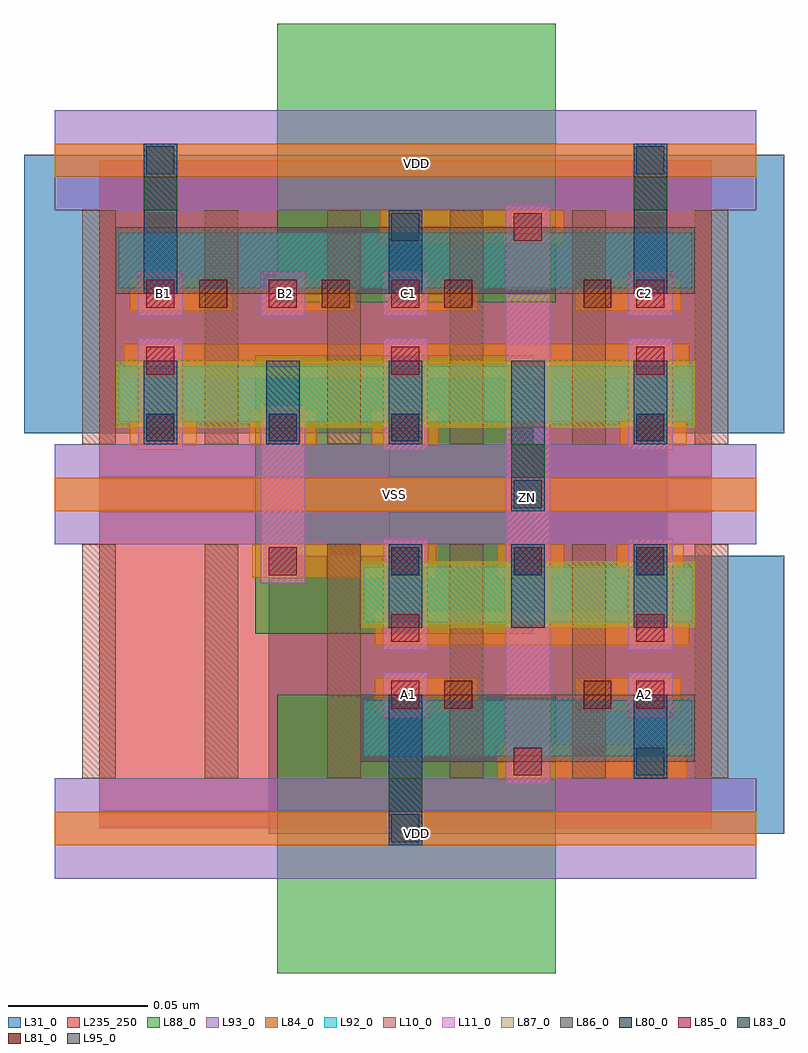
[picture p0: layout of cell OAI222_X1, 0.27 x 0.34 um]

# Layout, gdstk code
import gdstk
lib = gdstk.Library(unit=1e-6, precision=1e-09)
def R(c, l, rs):  # rectangles x0, y0, x1, y1
    for r in rs: c.add(gdstk.rectangle(r[:2], r[2:], *l))
def A(c, l, x, y, w, h, nx, ny, dx, dy):  # array of equal rectangles
    R(c, l, [(x+i*dx, y+j*dy, x+i*dx+w, y+j*dy+h) for i in range(nx) for j in range(ny)])
L10_0 = (10, 0)
L11_0 = (11, 0)
L31_0 = (31, 0)
L80_0 = (80, 0)
L81_0 = (81, 0)
L83_0 = (83, 0)
L84_0 = (84, 0)
L85_0 = (85, 0)
L86_0 = (86, 0)
L87_0 = (87, 0)
L88_0 = (88, 0)
L92_0 = (92, 0)
L93_0 = (93, 0)
L95_0 = (95, 0)
L235_250 = (235, 250)

oai222_x1 = lib.new_cell('OAI222_X1')
A(oai222_x1, L10_0, -0.006, 0.018, 0.012, 0.084, 6, 2, 0.044, 0.12)
A(oai222_x1, L11_0, 0.014, 0.136, 0.016, 0.04, 3, 1, 0.088, 0)
A(oai222_x1, L11_0, 0.014, 0.184, 0.016, 0.016, 3, 1, 0.044, 0)
R(oai222_x1, L11_0, [(0.146,0.016,0.162,0.224), (0.102,0.04,0.118,0.056), (0.19,0.04,0.206,0.056), (0.102,0.064,0.118,0.104), (0.19,0.064,0.206,0.104), (0.058,0.088,0.074,0.152), (0.19,0.184,0.206,0.2)])
A(oai222_x1, L31_0, -0.027, 0.142, 0.1, 0.1, 3, 1, 0.044, 0)
R(oai222_x1, L31_0, [(0.061,-0.002,0.161,0.098), (0.146,-0.002,0.246,0.098), (0.104,0.069,0.204,0.169), (0.146,0.142,0.246,0.242)])
A(oai222_x1, L80_0, 0.104, 0.072, 0.012, 0.03, 3, 1, 0.044, 0)
A(oai222_x1, L80_0, 0.016, 0.138, 0.012, 0.03, 3, 1, 0.044, 0)
R(oai222_x1, L80_0, [(0.104,-0.006,0.116,0.048), (0.192,0.018,0.204,0.048), (0.148,0.114,0.16,0.168), (0.192,0.138,0.204,0.168), (0.016,0.192,0.028,0.246), (0.104,0.192,0.116,0.222), (0.192,0.192,0.204,0.246)])
A(oai222_x1, L81_0, 0.036, 0.187, 0.01, 0.01, 3, 1, 0.044, 0)
R(oai222_x1, L81_0, [(0.124,0.043,0.134,0.053), (0.174,0.043,0.184,0.053), (0.174,0.187,0.184,0.197)])
A(oai222_x1, L83_0, 0.105, 0.091, 0.01, 0.01, 3, 1, 0.044, 0)
A(oai222_x1, L83_0, 0.017, 0.139, 0.01, 0.01, 3, 1, 0.044, 0)
R(oai222_x1, L83_0, [(0.105,-0.005,0.115,0.005), (0.193,0.019,0.203,0.029), (0.149,0.115,0.159,0.125), (0.193,0.139,0.203,0.149), (0.105,0.211,0.115,0.221), (0.017,0.235,0.027,0.245), (0.193,0.235,0.203,0.245)])
A(oai222_x1, L84_0, -0.016, -0.006, 0.252, 0.012, 1, 3, 0, 0.12)
R(oai222_x1, L84_0, [(0.143,0.018,0.211,0.03), (0.099,0.042,0.136,0.054), (0.171,0.042,0.209,0.054), (0.099,0.066,0.212,0.078), (0.055,0.09,0.121,0.102), (0.143,0.09,0.167,0.102), (0.186,0.09,0.21,0.102), (0.011,0.138,0.035,0.15), (0.054,0.138,0.078,0.15), (0.098,0.138,0.122,0.15), (0.187,0.138,0.211,0.15), (0.009,0.162,0.212,0.174), (0.011,0.186,0.048,0.198), (0.06,0.186,0.092,0.198), (0.104,0.186,0.136,0.198), (0.171,0.186,0.209,0.198), (0.101,0.21,0.167,0.222)])
A(oai222_x1, L85_0, 0.061, 0.091, 0.01, 0.01, 4, 1, 0.044, 0)
A(oai222_x1, L85_0, 0.017, 0.139, 0.01, 0.01, 3, 2, 0.044, 0.048)
A(oai222_x1, L85_0, 0.017, 0.163, 0.01, 0.01, 3, 1, 0.088, 0)
R(oai222_x1, L85_0, [(0.149,0.019,0.159,0.029), (0.105,0.043,0.115,0.053), (0.193,0.043,0.203,0.053), (0.105,0.067,0.115,0.077), (0.193,0.067,0.203,0.077), (0.193,0.139,0.203,0.149), (0.193,0.187,0.203,0.197), (0.149,0.211,0.159,0.221)])
R(oai222_x1, L86_0, [(0.094,0.024,0.214,0.048), (0.006,0.192,0.214,0.216)])
R(oai222_x1, L87_0, [(0.094,0.072,0.214,0.096), (0.006,0.144,0.214,0.168)])
R(oai222_x1, L88_0, [(0.064,-0.052,0.164,0.048), (0.056,0.07,0.156,0.17), (0.064,0.189,0.164,0.289)])
R(oai222_x1, L92_0, [(0.095,0.026,0.213,0.046), (0.095,0.074,0.213,0.094), (0.007,0.146,0.213,0.166), (0.007,0.194,0.213,0.214)])
A(oai222_x1, L93_0, -0.016, -0.018, 0.252, 0.036, 1, 3, 0, 0.12)
R(oai222_x1, L95_0, [(0.104,0.006,0.116,0.018), (0.148,0.126,0.16,0.138), (0.016,0.222,0.028,0.234), (0.192,0.222,0.204,0.234)])
R(oai222_x1, L235_250, [(0,0,0.22,0.24)])
oai222_x1.add(gdstk.Label('VDD', (0.114,0.239), layer=88, texttype=0))
oai222_x1.add(gdstk.Label('VSS', (0.106,0.12), layer=88, texttype=0))
oai222_x1.add(gdstk.Label('VDD', (0.114,-0.002), layer=88, texttype=0))
oai222_x1.add(gdstk.Label('B1', (0.023,0.192), layer=31, texttype=0))
oai222_x1.add(gdstk.Label('B2', (0.067,0.192), layer=31, texttype=0))
oai222_x1.add(gdstk.Label('C1', (0.111,0.192), layer=31, texttype=0))
oai222_x1.add(gdstk.Label('C2', (0.196,0.192), layer=31, texttype=0))
oai222_x1.add(gdstk.Label('ZN', (0.154,0.119), layer=31, texttype=0))
oai222_x1.add(gdstk.Label('A2', (0.196,0.048), layer=31, texttype=0))
oai222_x1.add(gdstk.Label('A1', (0.111,0.048), layer=31, texttype=0))

lib.write_gds('OAI222_X1.gds')
